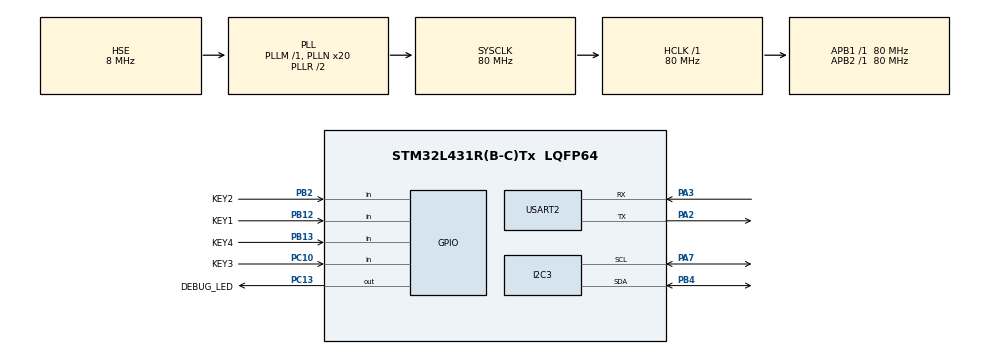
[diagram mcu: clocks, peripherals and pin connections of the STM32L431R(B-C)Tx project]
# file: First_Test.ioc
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I2C3.Timing=0x10909CEC
Mcu.Family=STM32L4
Mcu.Name=STM32L431R(B-C)Tx
Mcu.Package=LQFP64
NVIC.PriorityGroup=NVIC_PRIORITYGROUP_4
PA13\ (JTMS-SWDIO).Mode=Serial_Wire
PA13\ (JTMS-SWDIO).Signal=SYS_JTMS-SWDIO
PA14\ (JTCK-SWCLK).Mode=Serial_Wire
PA14\ (JTCK-SWCLK).Signal=SYS_JTCK-SWCLK
PA2.Mode=Asynchronous
PA2.Signal=USART2_TX
PA3.Mode=Asynchronous
PA3.Signal=USART2_RX
PA7.Mode=I2C
PA7.Signal=I2C3_SCL
PB12.GPIO_Label=KEY1
PB12.GPIO_PuPd=GPIO_PULLUP
PB12.Signal=GPIO_Input
PB13.GPIO_Label=KEY4
PB13.GPIO_PuPd=GPIO_PULLUP
PB13.Signal=GPIO_Input
PB2.GPIO_Label=KEY2
PB2.GPIO_PuPd=GPIO_PULLUP
PB2.Signal=GPIO_Input
PB4\ (NJTRST).Mode=I2C
PB4\ (NJTRST).Signal=I2C3_SDA
PC10.GPIO_Label=KEY3
PC10.GPIO_PuPd=GPIO_PULLUP
PC10.Signal=GPIO_Input
PC13.GPIO_Label=DEBUG_LED
PC13.Signal=GPIO_Output
PC14-OSC32_IN\ (PC14).Mode=LSE-External-Oscillator
PC14-OSC32_IN\ (PC14).Signal=RCC_OSC32_IN
PC15-OSC32_OUT\ (PC15).Mode=LSE-External-Oscillator
PC15-OSC32_OUT\ (PC15).Signal=RCC_OSC32_OUT
PH0-OSC_IN\ (PH0).Mode=HSE-External-Oscillator
PH0-OSC_IN\ (PH0).Signal=RCC_OSC_IN
PH1-OSC_OUT\ (PH1).Mode=HSE-External-Oscillator
PH1-OSC_OUT\ (PH1).Signal=RCC_OSC_OUT
ProjectManager.HeapSize=0x200
ProjectManager.StackSize=0x400
ProjectManager.TargetToolchain=MDK-ARM V5
RCC.ADCFreq_Value=32000000
RCC.AHBFreq_Value=80000000
RCC.APB1Freq_Value=80000000
RCC.APB1TimFreq_Value=80000000
RCC.APB2Freq_Value=80000000
RCC.APB2TimFreq_Value=80000000
RCC.CortexFreq_Value=80000000
RCC.HCLKFreq_Value=80000000
RCC.HSE_VALUE=8000000
RCC.HSI48_VALUE=48000000
RCC.HSI_VALUE=16000000
RCC.MSI_VALUE=4000000
RCC.PLLN=20
RCC.PLLSourceVirtual=RCC_PLLSOURCE_HSE
RCC.SYSCLKFreq_VALUE=80000000
RCC.SYSCLKSource=RCC_SYSCLKSOURCE_PLLCLK
RCC.VCOOutputFreq_Value=160000000
USART2.VirtualMode-Asynchronous=VM_ASYNC
board=custom

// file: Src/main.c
/* USER CODE BEGIN Header */
/**
  ******************************************************************************
  * @file           : main.c
  * @brief          : Main program body
  ******************************************************************************
  * @attention
  *
  * <h2><center>&copy; Copyright (c) 2020 STMicroelectronics.
  * All rights reserved.</center></h2>
  *
  * This software component is licensed by ST under BSD 3-Clause license,
  * the "License"; You may not use this file except in compliance with the
  * License. You may obtain a copy of the License at:
  *                        opensource.org/licenses/BSD-3-Clause
  *
  ******************************************************************************
  */
/* USER CODE END Header */

#include "main.h"
#include "i2c.h"
#include "usart.h"
#include "gpio.h"

/* USER CODE BEGIN Includes */
#include "cmsis_os.h"
#include "oled.h"
/* USER CODE END Includes */

/* USER CODE BEGIN PV */
#define STK_SIZE_TASK_PRODUCER 512
#define STK_SIZE_TASK_CONSUMER 512
k_stack_t stack_task_producer[STK_SIZE_TASK_PRODUCER];

k_stack_t stack_task_consumer[STK_SIZE_TASK_CONSUMER];
k_task_t task_producer;
k_task_t task_consumer;
extern void entry_task_producer(void *arg);
extern void entry_task_consumer(void *arg);
k_mutex_t buffer_locker;
k_sem_t full;
k_sem_t empty;
#define RESOURCE_COUNT_MAX 3
struct resource_st
{
    int cursor;
    uint32_t buffer[RESOURCE_COUNT_MAX];
} resource = { 0, {0} };
/* USER CODE END PV */

void SystemClock_Config(void);

/* USER CODE BEGIN 0 */
static void produce_item(int salt)
{
    printf("produce item:\n");
    printf("%d", salt);
    resource.buffer[resource.cursor++] = salt;
    printf("\n");
}
void entry_task_producer(void *arg)
{
    size_t salt = 0;
    k_err_t err;

    while (K_TRUE)
    {
        err = tos_sem_pend(&empty, TOS_TIME_FOREVER);

        if (err != K_ERR_NONE)
        {
            continue;
        }

        err = tos_mutex_pend(&buffer_locker);

        if (err != K_ERR_NONE)
        {
            continue;
        }

        produce_item(salt);
        tos_mutex_post(&buffer_locker);
        tos_sem_post(&full);
        tos_task_delay(1000);
        ++salt;
    }
}
static void consume_item(void)
{
    printf("cosume item:\n");
    printf("%d\t", resource.buffer[--resource.cursor]);
    printf("\n");
}
void entry_task_consumer(void *arg)
{
    k_err_t err;

    while (K_TRUE)
    {
        err = tos_sem_pend(&full, TOS_TIME_FOREVER);

        if (err != K_ERR_NONE)
        {
            continue;
        }

        tos_mutex_pend(&buffer_locker);

        if (err != K_ERR_NONE)
        {
            continue;
        }

        consume_item();
        tos_mutex_post(&buffer_locker);
        tos_sem_post(&empty);
        tos_task_delay(2000);
    }
}
/* USER CODE END 0 */

int main(void)
{

    /* MCU Configuration--------------------------------------------------------*/

    /* Reset of all peripherals, Initializes the Flash interface and the Systick. */
    HAL_Init();

    /* Configure the system clock */
    SystemClock_Config();

    /* Initialize all configured peripherals */
    MX_GPIO_Init();
    MX_USART2_UART_Init();
    MX_I2C3_Init();
    /* USER CODE BEGIN 2 */
    OLED_Init();
    OLED_Clear();
    OLED_ShowString(0, 0, (uint8_t*)"TencentOS tiny", 16);
    OLED_ShowString(0, 2, (uint8_t*)"Bruce.yang", 16);
    //��ʼ���ں�
    osKernelInitialize();
    tos_mutex_create(&buffer_locker);
    tos_sem_create(&full, 0);
    tos_sem_create(&empty, RESOURCE_COUNT_MAX);
    (void)tos_task_create(&task_producer, "producer", entry_task_producer, NULL,
                          4, stack_task_producer, STK_SIZE_TASK_PRODUCER, 0);

    (void)tos_task_create(&task_consumer, "consumer", entry_task_consumer, NULL,
                          4, stack_task_consumer, STK_SIZE_TASK_CONSUMER, 0);
    //�����ں�
    osKernelStart();
    /* USER CODE END 2 */

    /* Infinite loop */
    while (1)
    {

    }
}

void SystemClock_Config(void)
{
    RCC_OscInitTypeDef RCC_OscInitStruct = {0};
    RCC_ClkInitTypeDef RCC_ClkInitStruct = {0};
    RCC_PeriphCLKInitTypeDef PeriphClkInit = {0};

    /** Initializes the CPU, AHB and APB busses clocks
    */
    RCC_OscInitStruct.OscillatorType = RCC_OSCILLATORTYPE_HSE;
    RCC_OscInitStruct.HSEState = RCC_HSE_ON;
    RCC_OscInitStruct.PLL.PLLState = RCC_PLL_ON;
    RCC_OscInitStruct.PLL.PLLSource = RCC_PLLSOURCE_HSE;
    RCC_OscInitStruct.PLL.PLLM = 1;
    RCC_OscInitStruct.PLL.PLLN = 20;
    RCC_OscInitStruct.PLL.PLLP = RCC_PLLP_DIV7;
    RCC_OscInitStruct.PLL.PLLQ = RCC_PLLQ_DIV2;
    RCC_OscInitStruct.PLL.PLLR = RCC_PLLR_DIV2;

    if (HAL_RCC_OscConfig(&RCC_OscInitStruct) != HAL_OK)
    {
        Error_Handler();
    }

    /** Initializes the CPU, AHB and APB busses clocks
    */
    RCC_ClkInitStruct.ClockType = RCC_CLOCKTYPE_HCLK | RCC_CLOCKTYPE_SYSCLK
                                  | RCC_CLOCKTYPE_PCLK1 | RCC_CLOCKTYPE_PCLK2;
    RCC_ClkInitStruct.SYSCLKSource = RCC_SYSCLKSOURCE_PLLCLK;
    RCC_ClkInitStruct.AHBCLKDivider = RCC_SYSCLK_DIV1;
    RCC_ClkInitStruct.APB1CLKDivider = RCC_HCLK_DIV1;
    RCC_ClkInitStruct.APB2CLKDivider = RCC_HCLK_DIV1;

    if (HAL_RCC_ClockConfig(&RCC_ClkInitStruct, FLASH_LATENCY_4) != HAL_OK)
    {
        Error_Handler();
    }

    PeriphClkInit.PeriphClockSelection = RCC_PERIPHCLK_USART2 | RCC_PERIPHCLK_I2C3;
    PeriphClkInit.Usart2ClockSelection = RCC_USART2CLKSOURCE_PCLK1;
    PeriphClkInit.I2c3ClockSelection = RCC_I2C3CLKSOURCE_PCLK1;

    if (HAL_RCCEx_PeriphCLKConfig(&PeriphClkInit) != HAL_OK)
    {
        Error_Handler();
    }

    /** Configure the main internal regulator output voltage
    */
    if (HAL_PWREx_ControlVoltageScaling(PWR_REGULATOR_VOLTAGE_SCALE1) != HAL_OK)
    {
        Error_Handler();
    }
}

void Error_Handler(void)
{
}

/************************ (C) COPYRIGHT STMicroelectronics *****END OF FILE****/
